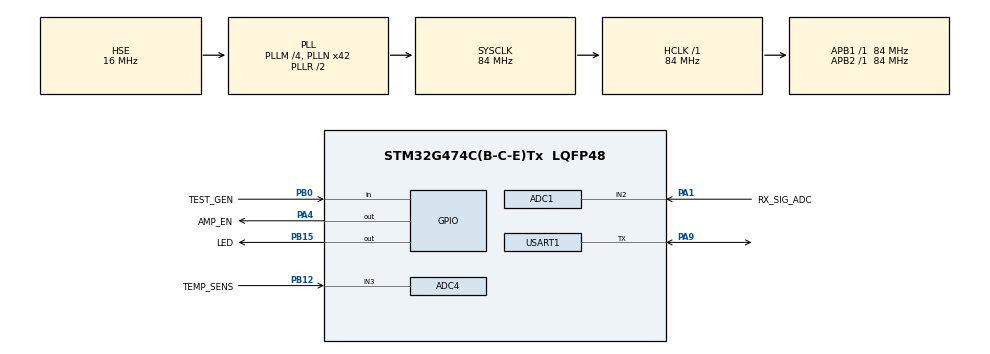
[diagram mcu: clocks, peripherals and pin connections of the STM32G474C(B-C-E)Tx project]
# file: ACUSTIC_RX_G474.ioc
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ADC1.Channel-0\#ChannelRegularConversion=ADC_CHANNEL_2
ADC1.ClockPrescaler=ADC_CLOCK_ASYNC_DIV2
ADC1.ContinuousConvMode=ENABLE
ADC1.DMAContinuousRequests=ENABLE
ADC1.OffsetNumber-0\#ChannelRegularConversion=ADC_OFFSET_NONE
ADC1.OversamplingMode=DISABLE
ADC1.Rank-0\#ChannelRegularConversion=1
ADC1.SamplingTime-0\#ChannelRegularConversion=ADC_SAMPLETIME_6CYCLES_5
ADC1.SingleDiff-0\#ChannelRegularConversion=ADC_SINGLE_ENDED
ADC4.Channel-0\#ChannelRegularConversion=ADC_CHANNEL_3
ADC4.ClockPrescaler=ADC_CLOCK_ASYNC_DIV256
ADC4.OffsetNumber-0\#ChannelRegularConversion=ADC_OFFSET_NONE
ADC4.Rank-0\#ChannelRegularConversion=1
ADC4.SamplingTime-0\#ChannelRegularConversion=ADC_SAMPLETIME_247CYCLES_5
Dma.ADC1.0.Direction=DMA_PERIPH_TO_MEMORY
Dma.ADC1.0.Instance=DMA1_Channel1
Dma.ADC1.0.MemDataAlignment=DMA_MDATAALIGN_HALFWORD
Dma.ADC1.0.MemInc=DMA_MINC_ENABLE
Dma.ADC1.0.Mode=DMA_CIRCULAR
Dma.ADC1.0.PeriphDataAlignment=DMA_PDATAALIGN_HALFWORD
Dma.ADC1.0.PeriphInc=DMA_PINC_DISABLE
Dma.ADC1.0.Priority=DMA_PRIORITY_VERY_HIGH
Dma.Request0=ADC1
Mcu.Family=STM32G4
Mcu.Name=STM32G474C(B-C-E)Tx
Mcu.Package=LQFP48
NVIC.ADC1_2_IRQn=true\:0\:0\:false\:false\:true\:true\:true\:true
NVIC.DMA1_Channel1_IRQn=true\:0\:0\:false\:false\:true\:false\:true\:true
NVIC.PriorityGroup=NVIC_PRIORITYGROUP_4
NVIC.TIM1_UP_TIM16_IRQn=true\:1\:0\:false\:false\:true\:true\:true\:true
NVIC.USART1_IRQn=true\:2\:0\:false\:false\:true\:true\:true\:true
PA1.GPIO_Label=RX_SIG_ADC
PA1.Mode=IN2-Single-Ended
PA1.Signal=ADC1_IN2
PA4.GPIO_Label=AMP_EN
PA4.Signal=GPIO_Output
PA9.GPIO_ModeDefaultOD=GPIO_MODE_AF_OD
PA9.GPIO_PuPd=GPIO_PULLUP
PA9.Mode=Half_duplex(single_wire_mode)
PA9.Signal=USART1_TX
PA10.Signal=USART1_RX
PA13.Mode=Serial_Wire
PA13.Signal=SYS_JTMS-SWDIO
PA14.Mode=Serial_Wire
PA14.Signal=SYS_JTCK-SWCLK
PB0.GPIO_Label=TEST_GEN
PB0.Signal=GPIO_Input
PB11.GPIO_Label=SYNC_OUT
PB11.Signal=S_TIM2_CH4
PB12.GPIO_Label=TEMP_SENS
PB12.Mode=IN3-Single-Ended
PB12.Signal=ADC4_IN3
PB15.GPIO_Label=LED
PB15.Signal=GPIO_Output
PF0-OSC_IN.Mode=HSE-External-Clock-Source
PF0-OSC_IN.Signal=RCC_OSC_IN
ProjectManager.HeapSize=0x200
ProjectManager.StackSize=0x400
ProjectManager.TargetToolchain=STM32CubeIDE
RCC.AHBFreq_Value=84000000
RCC.APB1CLKDivider=RCC_HCLK_DIV1
RCC.APB1Freq_Value=84000000
RCC.APB1TimFreq_Value=84000000
RCC.APB2CLKDivider=RCC_HCLK_DIV1
RCC.APB2Freq_Value=84000000
RCC.APB2TimFreq_Value=84000000
RCC.CortexFreq_Value=84000000
RCC.HCLKFreq_Value=84000000
RCC.HSE_VALUE=16000000
RCC.HSI_VALUE=16000000
RCC.PLLM=RCC_PLLM_DIV4
RCC.PLLN=42
RCC.PLLSourceVirtual=RCC_PLLSOURCE_HSE
RCC.SYSCLKFreq_VALUE=84000000
RCC.SYSCLKSource=RCC_SYSCLKSOURCE_PLLCLK
TIM1.Period=19500-1
TIM1.Prescaler=8400-1
TIM2.Channel-PWM\ Generation4\ CH4=TIM_CHANNEL_4
TIM2.Period=167999999
TIM2.Pulse-PWM\ Generation4\ CH4=16800
USART1.BaudRate=500000
USART1.VirtualMode=VM_ASYNC
board=custom

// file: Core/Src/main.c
/* USER CODE BEGIN Header */
/**
  ******************************************************************************
  * @file           : main.c
  * @brief          : Acoustic Receiver firmware for STM32G474CET3
  ******************************************************************************
  * @attention
  *
  * Target: STM32G474CET3
  * Clock: 16 MHz Ext. Generator D5 (PF0) -> PLL -> SYSCLK 84 MHz
  *
  ******************************************************************************
  */
/* USER CODE END Header */
#include "main.h"

/* USER CODE BEGIN Includes */
#include <math.h>
#include <string.h>
#include <stdio.h>
#include <stdbool.h>
#include "functions.h"
/* USER CODE END Includes */

/* USER CODE BEGIN PTD */
#define SLEEP_MODE
#define REQUEST_RESPONSE_MODE

typedef enum
{
    SYNC,
	PRINT,
	STAY,
	SLEEP
} rx_status;
/* USER CODE END PTD */

/* USER CODE BEGIN PD */
#define SAMPLES_PER_BIT          66U
#define SYNC_SEQ_LEN             2046U /* 31 * 66 */
#define CONV_BUF_SIZE            16U
/* USER CODE END PD */

ADC_HandleTypeDef hadc1;
ADC_HandleTypeDef hadc4;
DMA_HandleTypeDef hdma_adc1;

TIM_HandleTypeDef htim1;
TIM_HandleTypeDef htim2;

UART_HandleTypeDef huart1;

/* USER CODE BEGIN PV */
SyncTracker_t sync_tracker;
uint32_t sleep_pause = 1920;
uint16_t sequence_size = 4096;
uint16_t byte_size = 66;
int32_t Signal_ma[4096];
volatile uint32_t S_data[66];

volatile uint32_t BUFF[2];
uint32_t sgn = 0;
float sqr = 0;
uint16_t w = (uint16_t)-1;

volatile uint8_t w_ma = (uint8_t)-1;
uint8_t w_c = (uint8_t)-1;
uint8_t p_c = 0;
volatile uint32_t S_summ = 0;
volatile int32_t convolution_data[16];
volatile float convolution = 0;
volatile uint32_t sub = 0;
volatile int32_t  pwrMax = 0, pwrMin = 0;
volatile int32_t conv_peak_max = 0;
volatile int32_t peak_pos_sum = 0;
volatile int32_t peak_neg_sum = 0;
volatile int32_t peak_bits[31];
volatile float SNR = 0;
volatile uint32_t N = 0;
volatile bool sync_catch_flg = false;
volatile rx_status Rx_sts = SYNC;
uint32_t freq = 0;
float current_temperature = 0.0f;

const uint32_t ticks_per_period = 544;
const uint32_t ticks_per_bit = 544 * 66;
const uint32_t ticks_per_stop_bit = 544 * 66;
const uint32_t led_pulse_off_time = ticks_per_bit * 31 - ticks_per_period * 6;
const uint32_t print_start_time = SYSCLK_FREQ_HZ / 2;

volatile uint32_t local_ticks_per_sync_period = 0;
volatile uint32_t sync_raw_phase_cnt = 0;
uint8_t artur_income[3];
OutputPacket_t artur_output;
volatile float recovery_phase_diff_ticks = 0.0f;
volatile uint32_t recovery_missed_count = 0;
/* USER CODE END PV */

void SystemClock_Config(void);
static void MX_GPIO_Init(void);
static void MX_DMA_Init(void);
static void MX_ADC1_Init(void);
static void MX_ADC4_Init(void);
static void MX_TIM1_Init(void);
static void MX_TIM2_Init(void);
static void MX_USART1_UART_Init(void);
/* USER CODE BEGIN PFP */

/**
  * @brief  TMP235 temperature reader on PB12 (ADC4_IN3)
  *         TMP235: 500 mV at 0 °C, 10 mV/°C slope
  * @retval Temperature in degrees Celsius
  */
float Read_Temperature_TMP235(void)
{
    uint32_t raw_adc = 0;
    HAL_ADC_Start(&hadc4);
    if (HAL_ADC_PollForConversion(&hadc4, 10) == HAL_OK)
    {
        raw_adc = HAL_ADC_GetValue(&hadc4);
    }
    HAL_ADC_Stop(&hadc4);

    float voltage = ((float)raw_adc * 3.3f) / 4095.0f;
    float temp_c = (voltage - 0.500f) / 0.010f;
    return temp_c;
}

// TIM1 Period Elapsed: Wake up from sleep
void HAL_TIM_PeriodElapsedCallback(TIM_HandleTypeDef *htim)
{
	if (htim->Instance == TIM1)
	{
#ifdef SLEEP_MODE
		HAL_ResumeTick();
		__HAL_RCC_ADC12_CLK_ENABLE();
		__HAL_RCC_DMA1_CLK_ENABLE();

		// Разрешение работы усилителя (лог. «1» - работа)
		HAL_GPIO_WritePin(AMP_EN_GPIO_Port, AMP_EN_Pin, GPIO_PIN_SET);
#endif
		p_c++;
		if (p_c >= 10) {
			p_c = 0;
			pwrMax = 0;
			conv_peak_max = 0;
			peak_pos_sum = 0;
			peak_neg_sum = 0;
			memset((void*)peak_bits, 0, sizeof(peak_bits));
			S_summ = 0;
			NVIC_DisableIRQ(DMA1_Channel1_IRQn);
			memset((void*)Signal_ma, 0x00, sequence_size * sizeof(Signal_ma[0]));
			memset((void*)S_data, 0x00, byte_size * sizeof(S_data[0]));
			memset((void*)convolution_data, 0x00, sizeof(convolution_data));
			DMA1->IFCR = DMA_IFCR_CGIF1;
			NVIC_EnableIRQ(DMA1_Channel1_IRQn);
		}

		// Режим Holdover: если пропущен целый период (p_c > 1, так как в норме сбрасывается в 0)
		if (p_c > 1 && sync_tracker.lock_count > 0) {
			current_temperature = Read_Temperature_TMP235();
			uint32_t holdover_period = SyncTracker_OnSyncMissed(&sync_tracker, current_temperature);
			TIM2->ARR = holdover_period - 1;
			artur_output.sync_status = (uint8_t)SyncTracker_GetState(&sync_tracker);
			artur_output.difference = SyncTracker_GetDifferenceTicks(&sync_tracker);
		}

		DMA1->IFCR = DMA_IFCR_CGIF1;
		NVIC_EnableIRQ(DMA1_Channel1_IRQn);
		Rx_sts = SYNC;
	}
}

// ADC1 Data Processing ISR
void ADC_Process_ISR(void)
{
	if(Rx_sts == SYNC){
	    uint32_t sub_val = __SHSUB16(BUFF[0], BUFF[1]);
	    uint32_t sgn_val = __SMUAD(sub_val, sub_val);
	    float sqr_val = sqrtf((float)sgn_val);

	    sub = sub_val;
	    sgn = sgn_val;
	    sqr = sqr_val;

	    // скользящее среднее
	    w_ma++;
	   	if(w_ma >= SAMPLES_PER_BIT)
	   		w_ma = 0;
	 	S_summ -= S_data[w_ma];
	    S_data[w_ma] = (uint32_t)sqr_val;
	    S_summ += S_data[w_ma];

	    // главная последовательность 66*31=2046
		w++;
		if (w >= SYNC_SEQ_LEN)
			w = 0;
		Signal_ma[w] = S_summ;
		Signal_ma[w + SYNC_SEQ_LEN] = S_summ;

		// пиковый детектор
		if(S_summ > pwrMax) {
			pwrMax = S_summ;
		}

	/////////////////////////////////////////////////////////////////////////////////////////////////////////////
	//                        свертка 1-0-0+1-0-0+1+1+1+1+1-0+1+1+1-0-0-0+1-0+1-0+1+1-0+1-0-0-0-0+1
		w_c++;
		w_c = w_c & 0x7;

		const int32_t *p = &Signal_ma[w];
		int32_t conv_pos = p[0]
		                 + p[198]
		                 + p[396]
		                 + p[462]
		                 + p[528]
		                 + p[594]
		                 + p[660]
		                 + p[792]
		                 + p[858]
		                 + p[924]
		                 + p[1188]
		                 + p[1320]
		                 + p[1452]
		                 + p[1518]
		                 + p[1650]
		                 + p[1980]; // 16 positive terms

		int32_t conv_neg = p[66]
		                 + p[132]
		                 + p[264]
		                 + p[330]
		                 + p[726]
		                 + p[990]
		                 + p[1056]
		                 + p[1122]
		                 + p[1254]
		                 + p[1386]
		                 + p[1584]
		                 + p[1716]
		                 + p[1782]
		                 + p[1848]
		                 + p[1914]; // 15 negative terms

		int32_t conv = conv_pos - conv_neg;

		convolution_data[w_c] = conv;
		convolution = convolution_data[(w_c + 3) & 0x7];
		if (conv > conv_peak_max) {
			conv_peak_max = conv;
			peak_pos_sum = conv_pos;
			peak_neg_sum = conv_neg;
			for (int i = 0; i < 31; i++) {
				peak_bits[i] = p[i * 66];
			}
		}

	    if(
	        convolution_data[(w_c + 3) & 0x7] > pwrMax * 10
		    && convolution_data[(w_c + 3) & 0x7] > convolution_data[(w_c + 2) & 0x7]
		    && convolution_data[(w_c + 3) & 0x7] > convolution_data[(w_c + 4) & 0x7]
		  ){
	    	 HAL_GPIO_WritePin(LED_GPIO_Port, LED_PIN, GPIO_PIN_SET); // включение светодиода PB15
	    	 sync_raw_phase_cnt = TIM2->CNT; // Фиксация фазы перед сбросом (уход во время Holdover)
	    	 TIM2->CNT = 0x0;                // Жесткая аппаратная привязка TIM2 к сигналу (как на F407)
	    	 local_ticks_per_sync_period = DWT->CYCCNT;
	    	 DWT->CYCCNT = 0U;
	    	 sync_catch_flg = 1;
		     NVIC_DisableIRQ(DMA1_Channel1_IRQn);
	    }
	}
}
/* USER CODE END PFP */

int main(void)
{
  /* MCU Configuration--------------------------------------------------------*/
  HAL_Init();

  /* Configure the system clock: 16 MHz HSE Bypass -> 84 MHz SYSCLK */
  SystemClock_Config();

  /* USER CODE BEGIN Init */
  DWT_Init();
  /* USER CODE END Init */

  /* Initialize all configured peripherals */
  MX_GPIO_Init();
  MX_DMA_Init();

  MX_ADC1_Init();
  MX_ADC4_Init();
  MX_TIM1_Init();
  MX_TIM2_Init();
  MX_USART1_UART_Init();

  /* USER CODE BEGIN 2 */
  // Инициализация адаптивного трекера синхронизации
  SyncTracker_Init(&sync_tracker);

//work

  // Калибровка АЦП
  HAL_ADCEx_Calibration_Start(&hadc1, ADC_SINGLE_ENDED);
  HAL_ADCEx_Calibration_Start(&hadc4, ADC_SINGLE_ENDED);

  // Включение усилителя (лог. 1)
  HAL_GPIO_WritePin(AMP_EN_GPIO_Port, AMP_EN_Pin, GPIO_PIN_SET);

  // Запуск таймеров
  HAL_TIM_Base_Start_IT(&htim1);
  HAL_TIM_OC_Start(&htim2, TIM_CHANNEL_1);
  HAL_TIM_PWM_Start(&htim2, TIM_CHANNEL_4); // PB11 Pulse output

  freq = HAL_RCC_GetHCLKFreq();

  // Индикация старта (мигание LED на PB15)
  for(int i = 0; i < 6; i++){
		HAL_GPIO_TogglePin(LED_GPIO_Port, LED_PIN);
		HAL_Delay(60);
  }
  HAL_GPIO_WritePin(LED_GPIO_Port, LED_PIN, GPIO_PIN_RESET);

  // Запуск АЦП1 в непрерывном режиме с DMA (4 выборки за период 154.412 кГц)
  HAL_ADC_Start_DMA(&hadc1, (uint32_t*)BUFF, 4);
  __HAL_DMA_DISABLE_IT(&hdma_adc1, DMA_IT_HT); // Прерывание строго по завершению всех 4 выборок (TC)
  DMA1->IFCR = DMA_IFCR_CGIF1;
  HAL_NVIC_SetPriority(DMA1_Channel1_IRQn, 0, 0);
  HAL_NVIC_EnableIRQ(DMA1_Channel1_IRQn);

  artur_income[0] = 0x00; artur_income[1] = 0x00; artur_income[2] = 0x00;
  /* USER CODE END 2 */

  /* Infinite loop */
  /* USER CODE BEGIN WHILE */
  w = (uint16_t)-1;
  w_ma = (uint8_t)-1;
  w_c = (uint8_t)-1;

#ifdef REQUEST_RESPONSE_MODE
  HAL_HalfDuplex_EnableReceiver(&huart1);
  HAL_UART_Receive_IT(&huart1, artur_income, 1);
#else
  NVIC_DisableIRQ(USART1_IRQn);
  HAL_HalfDuplex_EnableTransmitter(&huart1);
#endif

  while (1)
  {
      if (sync_catch_flg == 1)
      {
	      N++;
	      sync_catch_flg = 0;
	      S_summ = 0;
	      pwrMin = (Signal_ma[(w + 1848) % SYNC_SEQ_LEN] + Signal_ma[(w + 1056) % SYNC_SEQ_LEN]) / 2;
	      if (pwrMin > 0) {
	          SNR = (float)(pwrMax - pwrMin) / (float)pwrMin;
	      } else {
	          SNR = 0.0f;
	      }
	      pwrMax = 0;
	      conv_peak_max = 0;
	      peak_pos_sum = 0;
	      peak_neg_sum = 0;
	      memset((void*)peak_bits, 0, sizeof(peak_bits));
	      pwrMin = 0;
	      p_c = 0;

	      // Периодическое чтение температуры
	      current_temperature = Read_Temperature_TMP235();

	      // Адаптивная фильтрация периода с подстройкой TIM2->ARR
	      uint32_t current_arr = TIM2->ARR + 1;
	      uint32_t recommended_arr_period = SyncTracker_OnSyncDetected(&sync_tracker, local_ticks_per_sync_period, sync_raw_phase_cnt, current_arr, current_temperature);
	      TIM2->ARR = recommended_arr_period - 1;

	      NVIC_DisableIRQ(DMA1_Channel1_IRQn);
	      memset((void*)Signal_ma, 0x00, sequence_size * sizeof(Signal_ma[0]));
	      memset((void*)S_data, 0x00, byte_size * sizeof(S_data[0]));
	      memset((void*)convolution_data, 0x00, sizeof(convolution_data));
	      DMA1->IFCR = DMA_IFCR_CGIF1;
	      NVIC_EnableIRQ(DMA1_Channel1_IRQn);

	      w = (uint16_t)-1;
	      w_ma = (uint8_t)-1;
	      w_c = (uint8_t)-1;
	      TIM1->CNT = 0x0;

	      while((int32_t)(TIM2->CNT - led_pulse_off_time) < 0) {;}
	      HAL_GPIO_WritePin(LED_GPIO_Port, LED_PIN, GPIO_PIN_RESET);
	      artur_output.sync_status = (uint8_t)SyncTracker_GetState(&sync_tracker);
	      artur_output.difference = SyncTracker_GetDifferenceTicks(&sync_tracker);
	      artur_output.snr = SNR;
	      recovery_phase_diff_ticks = SyncTracker_GetRecoveryPhaseDiffTicks(&sync_tracker);
	      recovery_missed_count = SyncTracker_GetRecoveryMissedCount(&sync_tracker);

#ifndef REQUEST_RESPONSE_MODE
	      while((int32_t)(TIM2->CNT - print_start_time) < 0) {;}
	      Rx_sts = PRINT;
	      if(Rx_sts == PRINT)
	      {
		      HAL_HalfDuplex_EnableTransmitter(&huart1);
		      HAL_UART_Transmit(&huart1, (uint8_t*)(&artur_output), sizeof(artur_output), 2);
		      Rx_sts = SLEEP;
	      }
#endif
      }

      if(Rx_sts == SLEEP){
#ifdef SLEEP_MODE
        	// Блокировка работы усилителя (лог. «0» - запрет)
        	HAL_GPIO_WritePin(AMP_EN_GPIO_Port, AMP_EN_Pin, GPIO_PIN_RESET);
        	__HAL_RCC_ADC12_CLK_DISABLE();
        	__HAL_RCC_DMA1_CLK_DISABLE();
        	HAL_SuspendTick();
        	HAL_PWR_EnterSLEEPMode(PWR_LOWPOWERREGULATOR_ON, PWR_SLEEPENTRY_WFI);
#endif
       }
  }
  /* USER CODE END WHILE */
}

void SystemClock_Config(void)
{
  RCC_OscInitTypeDef RCC_OscInitStruct = {0};
  RCC_ClkInitTypeDef RCC_ClkInitStruct = {0};

  /** Configure the main internal regulator output voltage
  */
  HAL_PWREx_ControlVoltageScaling(PWR_REGULATOR_VOLTAGE_SCALE1);

  /** Initializes the RCC Oscillators according to the specified parameters
  * in the RCC_OscInitTypeDef structure.
  * D5 generator: 16 MHz on PF0 (HSE_BYPASS)
  */
  RCC_OscInitStruct.OscillatorType = RCC_OSCILLATORTYPE_HSE;
  RCC_OscInitStruct.HSEState = RCC_HSE_BYPASS;
  RCC_OscInitStruct.PLL.PLLState = RCC_PLL_ON;
  RCC_OscInitStruct.PLL.PLLSource = RCC_PLLSOURCE_HSE;
  RCC_OscInitStruct.PLL.PLLM = RCC_PLLM_DIV4; // 16 / 4 = 4 MHz
  RCC_OscInitStruct.PLL.PLLN = 42;             // 4 * 42 = 168 MHz VCO
  RCC_OscInitStruct.PLL.PLLP = RCC_PLLP_DIV2;
  RCC_OscInitStruct.PLL.PLLQ = RCC_PLLQ_DIV2;
  RCC_OscInitStruct.PLL.PLLR = RCC_PLLR_DIV2; // 168 / 2 = 84 MHz SYSCLK
  if (HAL_RCC_OscConfig(&RCC_OscInitStruct) != HAL_OK)
  {
    Error_Handler();
  }

  /** Initializes the CPU, AHB and APB buses clocks
  */
  RCC_ClkInitStruct.ClockType = RCC_CLOCKTYPE_HCLK|RCC_CLOCKTYPE_SYSCLK
                              |RCC_CLOCKTYPE_PCLK1|RCC_CLOCKTYPE_PCLK2;
  RCC_ClkInitStruct.SYSCLKSource = RCC_SYSCLKSOURCE_PLLCLK;
  RCC_ClkInitStruct.AHBCLKDivider = RCC_SYSCLK_DIV1;
  RCC_ClkInitStruct.APB1CLKDivider = RCC_HCLK_DIV1;
  RCC_ClkInitStruct.APB2CLKDivider = RCC_HCLK_DIV1;

  if (HAL_RCC_ClockConfig(&RCC_ClkInitStruct, FLASH_LATENCY_2) != HAL_OK)
  {
    Error_Handler();
  }

  /* Включение предвыборки команд и кэшей данных/инструкций Flash для работы на полной скорости */
  FLASH->ACR |= FLASH_ACR_PRFTEN | FLASH_ACR_DCEN | FLASH_ACR_ICEN;
}

static void MX_ADC1_Init(void)
{
  ADC_MultiModeTypeDef multimode = {0};
  ADC_ChannelConfTypeDef sConfig = {0};

  hadc1.Instance = ADC1;
  hadc1.Init.ClockPrescaler = ADC_CLOCK_ASYNC_DIV8;
  hadc1.Init.Resolution = ADC_RESOLUTION_10B;
  hadc1.Init.DataAlign = ADC_DATAALIGN_RIGHT;
  hadc1.Init.GainCompensation = 0;
  hadc1.Init.ScanConvMode = ADC_SCAN_ENABLE;
  hadc1.Init.EOCSelection = ADC_EOC_SEQ_CONV;
  hadc1.Init.LowPowerAutoWait = DISABLE;
  hadc1.Init.ContinuousConvMode = ENABLE;
  hadc1.Init.NbrOfConversion = 4;
  hadc1.Init.DiscontinuousConvMode = DISABLE;
  hadc1.Init.ExternalTrigConv = ADC_SOFTWARE_START;
  hadc1.Init.ExternalTrigConvEdge = ADC_EXTERNALTRIGCONVEDGE_NONE;
  hadc1.Init.DMAContinuousRequests = ENABLE;
  hadc1.Init.Overrun = ADC_OVR_DATA_OVERWRITTEN;
  hadc1.Init.OversamplingMode = DISABLE;
  if (HAL_ADC_Init(&hadc1) != HAL_OK)
  {
    Error_Handler();
  }

  multimode.Mode = ADC_MODE_INDEPENDENT;
  if (HAL_ADCEx_MultiModeConfigChannel(&hadc1, &multimode) != HAL_OK)
  {
    Error_Handler();
  }

  sConfig.Channel = ADC_CHANNEL_2; // PA1 is ADC1_IN2
  sConfig.Rank = ADC_REGULAR_RANK_1;
  sConfig.SamplingTime = ADC_SAMPLETIME_6CYCLES_5;
  sConfig.SingleDiff = ADC_SINGLE_ENDED;
  sConfig.OffsetNumber = ADC_OFFSET_NONE;
  sConfig.Offset = 0;
  if (HAL_ADC_ConfigChannel(&hadc1, &sConfig) != HAL_OK)
  {
    Error_Handler();
  }

  sConfig.Rank = ADC_REGULAR_RANK_2;
  if (HAL_ADC_ConfigChannel(&hadc1, &sConfig) != HAL_OK)
  {
    Error_Handler();
  }

  sConfig.Rank = ADC_REGULAR_RANK_3;
  if (HAL_ADC_ConfigChannel(&hadc1, &sConfig) != HAL_OK)
  {
    Error_Handler();
  }

  sConfig.Rank = ADC_REGULAR_RANK_4;
  if (HAL_ADC_ConfigChannel(&hadc1, &sConfig) != HAL_OK)
  {
    Error_Handler();
  }
}

static void MX_ADC4_Init(void)
{
  ADC_ChannelConfTypeDef sConfig = {0};

  hadc4.Instance = ADC4;
  hadc4.Init.ClockPrescaler = ADC_CLOCK_ASYNC_DIV256;
  hadc4.Init.Resolution = ADC_RESOLUTION_12B;
  hadc4.Init.DataAlign = ADC_DATAALIGN_RIGHT;
  hadc4.Init.ScanConvMode = ADC_SCAN_DISABLE;
  hadc4.Init.EOCSelection = ADC_EOC_SINGLE_CONV;
  hadc4.Init.ContinuousConvMode = DISABLE;
  hadc4.Init.NbrOfConversion = 1;
  hadc4.Init.ExternalTrigConv = ADC_SOFTWARE_START;
  hadc4.Init.DMAContinuousRequests = DISABLE;
  hadc4.Init.Overrun = ADC_OVR_DATA_OVERWRITTEN;
  if (HAL_ADC_Init(&hadc4) != HAL_OK)
  {
    Error_Handler();
  }

  sConfig.Channel = ADC_CHANNEL_3; // PB12 is ADC4_IN3
  sConfig.Rank = ADC_REGULAR_RANK_1;
  sConfig.SamplingTime = ADC_SAMPLETIME_247CYCLES_5;
  sConfig.SingleDiff = ADC_SINGLE_ENDED;
  sConfig.OffsetNumber = ADC_OFFSET_NONE;
  if (HAL_ADC_ConfigChannel(&hadc4, &sConfig) != HAL_OK)
  {
    Error_Handler();
  }
}

static void MX_TIM1_Init(void)
{
  TIM_ClockConfigTypeDef sClockSourceConfig = {0};
  TIM_MasterConfigTypeDef sMasterConfig = {0};

  htim1.Instance = TIM1;
  htim1.Init.Prescaler = 8400 - 1;
  htim1.Init.CounterMode = TIM_COUNTERMODE_UP;
  htim1.Init.Period = 19500 - 1;
  htim1.Init.ClockDivision = TIM_CLOCKDIVISION_DIV1;
  htim1.Init.RepetitionCounter = 0;
  htim1.Init.AutoReloadPreload = TIM_AUTORELOAD_PRELOAD_DISABLE;
  if (HAL_TIM_Base_Init(&htim1) != HAL_OK)
  {
    Error_Handler();
  }
  sClockSourceConfig.ClockSource = TIM_CLOCKSOURCE_INTERNAL;
  if (HAL_TIM_ConfigClockSource(&htim1, &sClockSourceConfig) != HAL_OK)
  {
    Error_Handler();
  }
  sMasterConfig.MasterOutputTrigger = TIM_TRGO_RESET;
  sMasterConfig.MasterOutputTrigger2 = TIM_TRGO2_RESET;
  sMasterConfig.MasterSlaveMode = TIM_MASTERSLAVEMODE_DISABLE;
  if (HAL_TIMEx_MasterConfigSynchronization(&htim1, &sMasterConfig) != HAL_OK)
  {
    Error_Handler();
  }
}

static void MX_TIM2_Init(void)
{
  TIM_ClockConfigTypeDef sClockSourceConfig = {0};
  TIM_MasterConfigTypeDef sMasterConfig = {0};
  TIM_OC_InitTypeDef sConfigOC = {0};

  htim2.Instance = TIM2;
  htim2.Init.Prescaler = 0;
  htim2.Init.CounterMode = TIM_COUNTERMODE_UP;
  htim2.Init.Period = 167999999;
  htim2.Init.ClockDivision = TIM_CLOCKDIVISION_DIV1;
  htim2.Init.AutoReloadPreload = TIM_AUTORELOAD_PRELOAD_DISABLE;
  if (HAL_TIM_Base_Init(&htim2) != HAL_OK)
  {
    Error_Handler();
  }
  sClockSourceConfig.ClockSource = TIM_CLOCKSOURCE_INTERNAL;
  if (HAL_TIM_ConfigClockSource(&htim2, &sClockSourceConfig) != HAL_OK)
  {
    Error_Handler();
  }
  if (HAL_TIM_PWM_Init(&htim2) != HAL_OK)
  {
    Error_Handler();
  }
  sMasterConfig.MasterOutputTrigger = TIM_TRGO_RESET;
  sMasterConfig.MasterSlaveMode = TIM_MASTERSLAVEMODE_DISABLE;
  if (HAL_TIMEx_MasterConfigSynchronization(&htim2, &sMasterConfig) != HAL_OK)
  {
    Error_Handler();
  }
  sConfigOC.OCMode = TIM_OCMODE_PWM1;
  sConfigOC.Pulse = 16800;
  sConfigOC.OCPolarity = TIM_OCPOLARITY_HIGH;
  sConfigOC.OCFastMode = TIM_OCFAST_DISABLE;
  if (HAL_TIM_PWM_ConfigChannel(&htim2, &sConfigOC, TIM_CHANNEL_1) != HAL_OK)
  {
    Error_Handler();
  }
  if (HAL_TIM_PWM_ConfigChannel(&htim2, &sConfigOC, TIM_CHANNEL_4) != HAL_OK) // PB11
  {
    Error_Handler();
  }
  HAL_TIM_MspPostInit(&htim2);
}

static void MX_USART1_UART_Init(void)
{
  huart1.Instance = USART1;
  huart1.Init.BaudRate = 500000;
  huart1.Init.WordLength = UART_WORDLENGTH_8B;
  huart1.Init.StopBits = UART_STOPBITS_1;
  huart1.Init.Parity = UART_PARITY_NONE;
  huart1.Init.Mode = UART_MODE_TX_RX;
  huart1.Init.HwFlowCtl = UART_HWCONTROL_NONE;
  huart1.Init.OverSampling = UART_OVERSAMPLING_16;
  huart1.Init.OneBitSampling = UART_ONE_BIT_SAMPLE_DISABLE;
  huart1.Init.ClockPrescaler = UART_PRESCALER_DIV1;
  huart1.AdvancedInit.AdvFeatureInit = UART_ADVFEATURE_NO_INIT;
  if (HAL_HalfDuplex_Init(&huart1) != HAL_OK)
  {
    Error_Handler();
  }
}

static void MX_DMA_Init(void)
{
  __HAL_RCC_DMAMUX1_CLK_ENABLE();
  __HAL_RCC_DMA1_CLK_ENABLE();

  HAL_NVIC_SetPriority(DMA1_Channel1_IRQn, 0, 0);
  HAL_NVIC_EnableIRQ(DMA1_Channel1_IRQn);
}

static void MX_GPIO_Init(void)
{
  GPIO_InitTypeDef GPIO_InitStruct = {0};

  /* GPIO Ports Clock Enable */
  __HAL_RCC_GPIOF_CLK_ENABLE();
  __HAL_RCC_GPIOA_CLK_ENABLE();
  __HAL_RCC_GPIOB_CLK_ENABLE();

  /*Configure GPIO pin Output Level */
  HAL_GPIO_WritePin(AMP_EN_GPIO_Port, AMP_EN_Pin, GPIO_PIN_RESET);
  HAL_GPIO_WritePin(LED_GPIO_Port, LED_PIN, GPIO_PIN_RESET);

  /*Configure GPIO pin : PA4 (AMP_EN) */
  GPIO_InitStruct.Pin = AMP_EN_Pin;
  GPIO_InitStruct.Mode = GPIO_MODE_OUTPUT_PP;
  GPIO_InitStruct.Pull = GPIO_NOPULL;
  GPIO_InitStruct.Speed = GPIO_SPEED_FREQ_HIGH;
  HAL_GPIO_Init(AMP_EN_GPIO_Port, &GPIO_InitStruct);

  /*Configure GPIO pin : PB15 (LED) */
  GPIO_InitStruct.Pin = LED_PIN;
  GPIO_InitStruct.Mode = GPIO_MODE_OUTPUT_PP;
  GPIO_InitStruct.Pull = GPIO_NOPULL;
  GPIO_InitStruct.Speed = GPIO_SPEED_FREQ_LOW;
  HAL_GPIO_Init(LED_GPIO_Port, &GPIO_InitStruct);

  /*Configure GPIO pin : PB0 (TEST_GEN) */
  GPIO_InitStruct.Pin = TEST_GEN_Pin;
  GPIO_InitStruct.Mode = GPIO_MODE_INPUT;
  GPIO_InitStruct.Pull = GPIO_PULLDOWN;
  HAL_GPIO_Init(TEST_GEN_GPIO_Port, &GPIO_InitStruct);
}

#ifdef REQUEST_RESPONSE_MODE
void HAL_UART_RxCpltCallback(UART_HandleTypeDef *huart) {
	if(huart == &huart1)
    {
		NVIC_DisableIRQ(DMA1_Channel1_IRQn);
		if(artur_output.sync_status == SYNC_STATE_LOCKED || artur_output.sync_status == SYNC_STATE_HOLDOVER)
		    Rx_sts = SLEEP;
		HAL_GPIO_TogglePin(LED_GPIO_Port, LED_PIN);
    	if(artur_income[0] == 0x37)
    	{
    		delay_micros(100);
    	    artur_output.difference = SyncTracker_GetDifferenceTicks(&sync_tracker);
    	    artur_output.sync_status = (uint8_t)SyncTracker_GetState(&sync_tracker);
    	    artur_output.snr = SNR;
    	    HAL_HalfDuplex_EnableTransmitter(&huart1);
    	    HAL_UART_Transmit(&huart1, (uint8_t*)(&artur_output), sizeof(artur_output), 2);
    	}
    	artur_income[0] = 0x00; artur_income[1] = 0x00; artur_income[2] = 0x00;
    	DMA1->IFCR = DMA_IFCR_CGIF1;
    	NVIC_EnableIRQ(DMA1_Channel1_IRQn);
    	HAL_HalfDuplex_EnableReceiver(&huart1);
        HAL_UART_Receive_IT(&huart1, artur_income, 1);
    }
}
#endif

void Error_Handler(void)
{
  __disable_irq();
  while (1)
  {
  }
}
